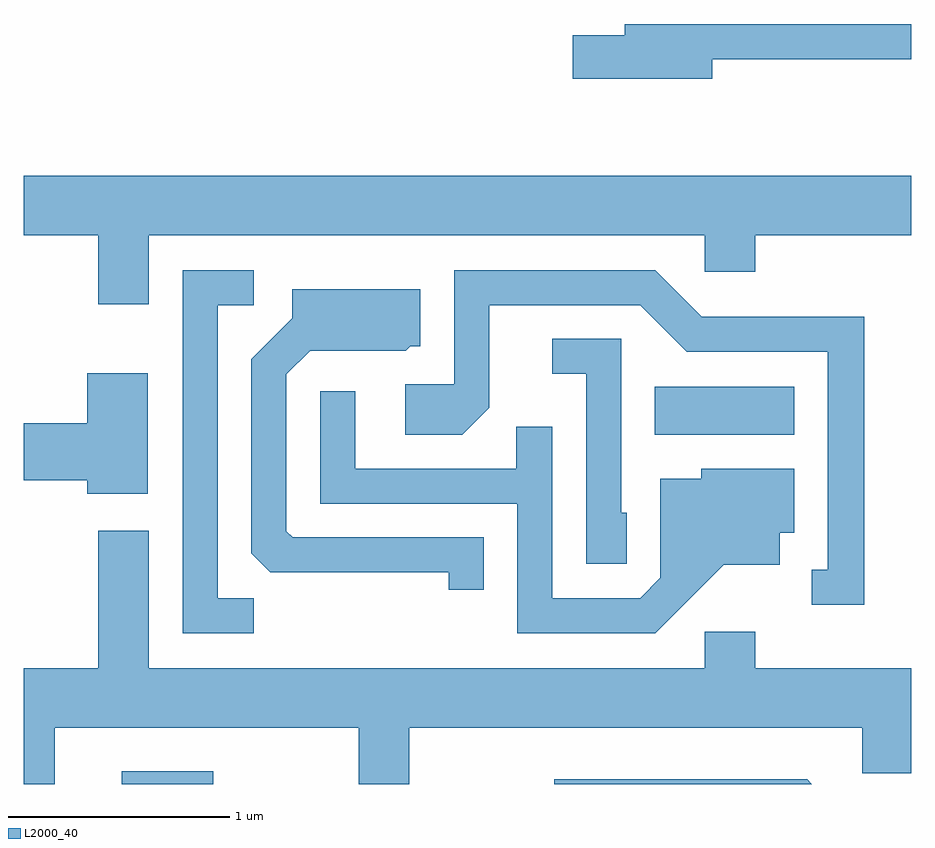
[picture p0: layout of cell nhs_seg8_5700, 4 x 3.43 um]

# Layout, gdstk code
import gdstk
lib = gdstk.Library(unit=1e-6, precision=1e-09)
def R(c, l, rs):  # rectangles x0, y0, x1, y1
    for r in rs: c.add(gdstk.rectangle(r[:2], r[2:], *l))
def P(c, l, *ps):  # polygons
    for p in ps: c.add(gdstk.Polygon(p, *l))
L2000_40 = (2000, 40)

nhs_seg8_5700 = lib.new_cell('nhs_seg8_5700')
R(nhs_seg8_5700, L2000_40, [(356.051,1878.342,356.464,1878.399), (358.456,1879.916,359.084,1880.134)])
P(nhs_seg8_5700, L2000_40, [(358.714,1881.611),(359.611,1881.611),(359.611,1881.769),(358.321,1881.769),(358.321,1881.719),(358.086,1881.719),(358.086,1881.521),(358.714,1881.521)],
  [(356.174,1880.816),(358.681,1880.816),(358.681,1880.651),(358.909,1880.651),(358.909,1880.816),(359.611,1880.816),(359.611,1881.084),(355.611,1881.084),(355.611,1880.816),(355.946,1880.816),(355.946,1880.506),(356.174,1880.506)],
  [(356.648,1879.179),(356.484,1879.179),(356.484,1880.501),(356.648,1880.501),(356.648,1880.659),(356.326,1880.659),(356.326,1879.021),(356.648,1879.021)],
  [(359.399,1880.449),(358.667,1880.449),(358.457,1880.659),(357.551,1880.659),(357.551,1880.144),(357.331,1880.144),(357.331,1879.916),(357.587,1879.916),(357.709,1880.039),(357.709,1880.501),(358.389,1880.501),(358.599,1880.291),(359.236,1880.291),(359.236,1879.309),(359.163,1879.309),(359.163,1879.151),(359.399,1879.151)],
  [(357.684,1879.454),(356.822,1879.454),(356.794,1879.482),(356.794,1880.189),(356.902,1880.296),(357.332,1880.296),(357.352,1880.316),(357.399,1880.316),(357.399,1880.574),(356.821,1880.574),(356.821,1880.442),(356.636,1880.257),(356.636,1879.382),(356.722,1879.296),(357.526,1879.296),(357.526,1879.218),(357.684,1879.218)],
  [(358.329,1879.564),(358.304,1879.564),(358.304,1880.349),(357.993,1880.349),(357.993,1880.191),(358.146,1880.191),(358.146,1879.336),(358.329,1879.336)],
  [(356.169,1880.194),(355.896,1880.194),(355.896,1879.969),(355.611,1879.969),(355.611,1879.711),(355.896,1879.711),(355.896,1879.651),(356.169,1879.651)],
  [(358.767,1879.331),(359.019,1879.331),(359.019,1879.476),(359.084,1879.476),(359.084,1879.764),(358.666,1879.764),(358.666,1879.719),(358.481,1879.719),(358.481,1879.272),(358.389,1879.179),(357.994,1879.179),(357.994,1879.953),(357.831,1879.953),(357.831,1879.764),(357.104,1879.764),(357.104,1880.113),(356.946,1880.113),(356.946,1879.606),(357.836,1879.606),(357.836,1879.021),(358.457,1879.021)],
  [(358.681,1879.029),(358.681,1878.864),(356.174,1878.864),(356.174,1879.484),(355.946,1879.484),(355.946,1878.864),(355.611,1878.864),(355.611,1878.342),(355.749,1878.342),(355.749,1878.596),(357.121,1878.596),(357.121,1878.342),(357.349,1878.342),(357.349,1878.596),(359.391,1878.596),(359.391,1878.391),(359.611,1878.391),(359.611,1878.864),(358.909,1878.864),(358.909,1879.029)],
  [(359.142,1878.364),(358.003,1878.364),(358.003,1878.342),(359.164,1878.342)])

lib.write_gds('nhs_seg8_5700.gds')
